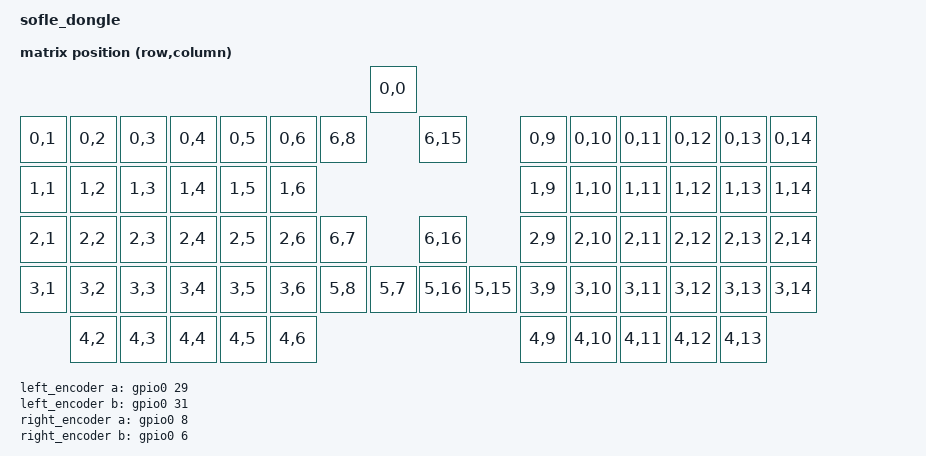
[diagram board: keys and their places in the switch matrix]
/*
 * Copyright (c) 2023 ZitaoTech
 *
 * SPDX-License-Identifier: MIT
 */

/dts-v1/;
#include <nordic/nrf52840_qiaa.dtsi>

#include <dt-bindings/led/led.h>
#include <dt-bindings/zmk/matrix_transform.h>
#include "sofle_dongle-layouts.dtsi"



/ {
    model = "sofle_dongle";
    compatible = "ZitaoTech,sofle_dongle";

    chosen {
        zephyr,code-partition = &code_partition;
        zephyr,sram = &sram0;
        zephyr,flash = &flash0;
        zephyr,console = &cdc_acm_uart;
        zmk,kscan = &kscan0;
        zmk,physical-layouts = &sofle_dongle_layout;
        zmk,studio-rpc-uart = &cdc_acm_uart; // ✅ 
    };
    default_transform: keymap_transform_0 {
        compatible = "zmk,matrix-transform";
        columns = <17>;
        rows = <6>;
        map = <
                                                            RC(0,0) 
RC(0,1)  RC(0,2) RC(0,3) RC(0,4) RC(0,5) RC(0,6)  RC(6,8)             RC(6,15)           RC(0,9)  RC(0,10)  RC(0,11) RC(0,12) RC(0,13) RC(0,14)
RC(1,1)  RC(1,2) RC(1,3) RC(1,4) RC(1,5) RC(1,6)                                         RC(1,9)  RC(1,10)  RC(1,11) RC(1,12) RC(1,13) RC(1,14)
RC(2,1)  RC(2,2) RC(2,3) RC(2,4) RC(2,5) RC(2,6)  RC(6,7)             RC(6,16)           RC(2,9)  RC(2,10)  RC(2,11) RC(2,12) RC(2,13) RC(2,14)
RC(3,1)  RC(3,2) RC(3,3) RC(3,4) RC(3,5) RC(3,6)  RC(5,8)  RC(5,7)    RC(5,16) RC(5,15)  RC(3,9)  RC(3,10)  RC(3,11) RC(3,12) RC(3,13) RC(3,14)
         RC(4,2) RC(4,3) RC(4,4) RC(4,5) RC(4,6)                                         RC(4,9)  RC(4,10)  RC(4,11) RC(4,12) RC(4,13)
        >;
    };

left_encoder: encoder_left {
        compatible = "alps,ec11";
        a-gpios = <&gpio0 29 (GPIO_ACTIVE_HIGH | GPIO_OPEN_DRAIN)>;
        b-gpios = <&gpio0 31 (GPIO_ACTIVE_HIGH | GPIO_OPEN_DRAIN)>;
        resolution = <4>;
        steps = <30>;
        status = "disabled";
     };

right_encoder: encoder_right {
        compatible = "alps,ec11";
        a-gpios = <&gpio0 8 (GPIO_ACTIVE_HIGH | GPIO_OPEN_DRAIN)>;
        b-gpios = <&gpio0 6 (GPIO_ACTIVE_HIGH | GPIO_OPEN_DRAIN)>;
        resolution = <4>;
        steps = <30>;
        status = "disabled";
     };

     sensors: sensors {
        compatible = "zmk,keymap-sensors";
        sensors = <&left_encoder &right_encoder>;
        triggers-per-rotation = <15>;
    }; 

};



&usbd {
    status = "okay";
    cdc_acm_uart: cdc_acm_uart {
        compatible = "zephyr,cdc-acm-uart";
    };
};

&sofle_dongle_layout{
	transform = <&default_transform>;
	kscan = <&kscan0>;
};  

zephyr_udc0: &usbd { 
    compatible = "nordic,nrf-usbd"; 
    status = "okay"; 
};

&flash0 {
    partitions {
        compatible = "fixed-partitions";
        #address-cells = <1>;
        #size-cells = <1>;

        sd_partition: partition@0 {
            reg = <0x00000000 0x00001000>;
        };

        code_partition: partition@1000 {
            reg = <0x00001000 0x000d3000>;
        };

        storage_partition: partition@d4000 {
            reg = <0x000d4000 0x00020000>;
        };

        boot_partition: partition@f4000 {
            reg = <0x000f4000 0x0000c000>;
        };
    };
};

